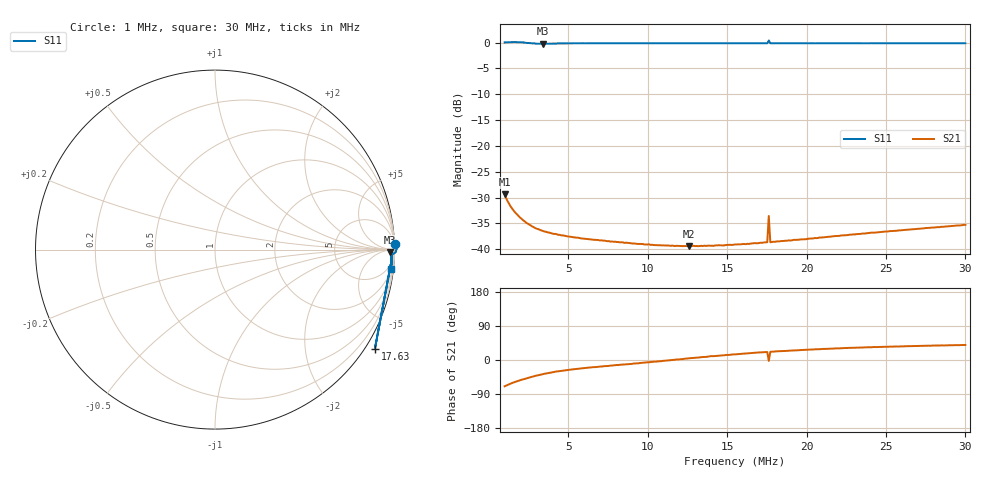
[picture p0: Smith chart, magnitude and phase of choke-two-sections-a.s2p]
!File created by NanoVNA-F V2
# Hz S RI R 50
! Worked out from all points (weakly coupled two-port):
!   301 points, 1 MHz to 30 MHz, reference 50 ohm
!   highest |S21| = -29.39 dB at 1 MHz (marker M1); lowest = -39.4 dB at 12.6 MHz (marker M2)
!   lowest |S11| = -0.2 dB at 3.417 MHz (marker M3), VSWR 77.40, Z = 2.92e+03 - j1.67e+03 ohm
!   |S11| at or under -10 dB: nowhere
!   S12 and S22 are empty: the file has one direction only
!   S11 on the Smith chart (normalised r, x): 1 MHz: -6, +67; 17.63 MHz: -0.31, -3.48; 30 MHz: 3, -18
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1000000  1.002 0.0299  0.0119 -0.0318  0 0  0 0
1193332  1.005 0.0231  0.012 -0.0265  0 0  0 0
1386664  1.009 0.0144  0.012 -0.0229  0 0  0 0
1579996  1.009 0.0079  0.0121 -0.0202  0 0  0 0
1966660  1.009 -0.0117  0.0121 -0.0163  0 0  0 0
2449990  0.9911 -0.0254  0.012 -0.0131  0 0  0 0
2739988  0.9805 -0.0223  0.0119 -0.0116  0 0  0 0
3416650  0.9744 -0.0144  0.012 -0.0091  0 0  0 0
4093312  0.978 -0.0107  0.012 -0.00743  0 0  0 0
5833300  0.9839 -0.0157  0.0118 -0.00485  0 0  0 0
8539948  0.9847 -0.0285  0.0113 -0.00236  0 0  0 0
1.06666e7  0.9855 -0.0361  0.0109 -0.000665  0 0  0 0
1.259992e7  0.9855 -0.045  0.0107 0.000861  0 0  0 0
1.414658e7  0.9847 -0.0492  0.0106 0.0019  0 0  0 0
1.54999e7  0.9849 -0.0532  0.0108 0.00283  0 0  0 0
1.617656e7  0.9831 -0.0567  0.0107 0.00334  0 0  0 0
1.752989e7  0.9834 -0.0625  0.0109 0.00421  0 0  0 0
1.762655e7  0.8908 -0.5524  0.021 -0.000859  0 0  0 0
1.772322e7  0.9824 -0.0627  0.0109 0.00432  0 0  0 0
2.03332e7  0.9824 -0.071  0.0113 0.0059  0 0  0 0
2.51665e7  0.9812 -0.0878  0.0122 0.00855  0 0  0 0
2.99998e7  0.9794 -0.1062  0.0133 0.011  0 0  0 0
